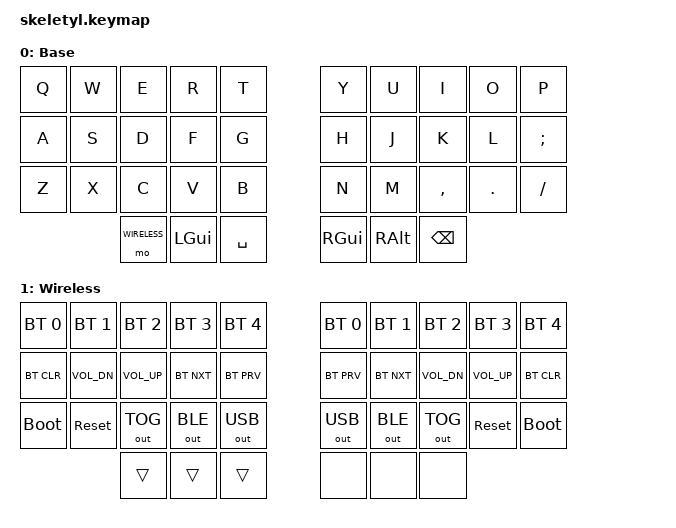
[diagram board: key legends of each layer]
/*
 * Skeletyl keymap for use with kanata (~/.config/kanata/config.kbd).
 *
 * The board sends plain QWERTY. Kanata does home-row mods, Sturdy remap and
 * layers, so nothing here is a hold-tap except the wireless layer key.
 *
 * Thumbs (kanata meaning):
 *   left:  outer mo WIRELESS | middle LGUI (one-shot cmd / lthumb) | inner SPC (space layer)
 *   right: inner RGUI (one-shot shift) | middle RALT (nums) | outer BSPC
 *
 * SPDX-License-Identifier: MIT
 */

#include <behaviors.dtsi>
#include <dt-bindings/zmk/bt.h>
#include <dt-bindings/zmk/keys.h>
#include <dt-bindings/zmk/outputs.h>

#define BASE     0
#define WIRELESS 1

/ {
    keymap {
        compatible = "zmk,keymap";

        base_layer {
            display-name = "Base";
            bindings = <
&kp Q  &kp W  &kp E  &kp R  &kp T        &kp Y  &kp U  &kp I      &kp O    &kp P
&kp A  &kp S  &kp D  &kp F  &kp G        &kp H  &kp J  &kp K      &kp L    &kp SEMI
&kp Z  &kp X  &kp C  &kp V  &kp B        &kp N  &kp M  &kp COMMA  &kp DOT  &kp FSLH
          &mo WIRELESS  &kp LGUI  &kp SPACE   &kp RGUI  &kp RALT  &kp BSPC
            >;
        };

        wireless_layer {
            display-name = "Wireless";
            bindings = <
&bt BT_SEL 0  &bt BT_SEL 1  &bt BT_SEL 2  &bt BT_SEL 3  &bt BT_SEL 4    &bt BT_SEL 0  &bt BT_SEL 1  &bt BT_SEL 2  &bt BT_SEL 3  &bt BT_SEL 4
&bt BT_CLR    &kp C_VOL_DN  &kp C_VOL_UP  &bt BT_NXT    &bt BT_PRV      &bt BT_PRV    &bt BT_NXT    &kp C_VOL_DN  &kp C_VOL_UP  &bt BT_CLR
&bootloader   &sys_reset    &out OUT_TOG  &out OUT_BLE  &out OUT_USB    &out OUT_USB  &out OUT_BLE  &out OUT_TOG  &sys_reset    &bootloader
                            &trans        &trans        &trans          &none         &none         &none
            >;
        };
    };
};
